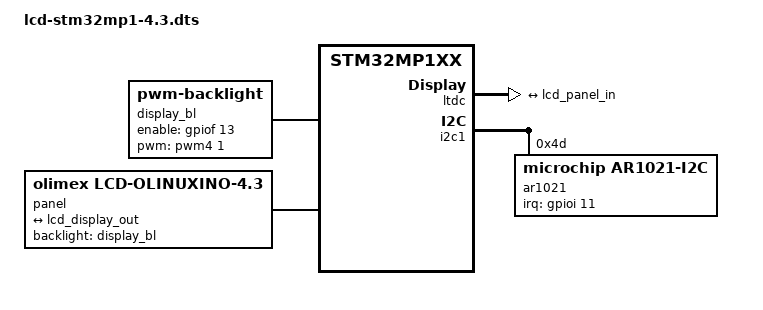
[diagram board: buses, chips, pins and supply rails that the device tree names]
/dts-v1/;
/plugin/;

/ {
	compatible = "olimex,stm32mp1xx-olinuxino-som",
                     "olimex,stm32mp1xx-olinuxino-lime",
		     "olimex,stm32mp1xx-olinuxino-som-base";

	description = "LCD-OLinuXino-4.3 480x272 RTS I2C";

	fragment@0 {
		target-path = "/";
		__overlay__ {
			display_bl: display-bl {
                                    compatible = "pwm-backlight";
                                    pwms = <&pwm4 1 50000 1>;
                                    brightness-levels = <0 10 20 30 40 50 60 70 80 90 100>;
                                    default-brightness-level = <10>;
                                    enable-gpios = <&gpiof 13 0>;
                                    status = "okay";
                        };
			panel {
                              compatible = "olimex,lcd-olinuxino-4.3";
                              backlight = <&display_bl>;
                              port {
                                lcd_panel_in: endpoint {
                                       remote-endpoint = <&lcd_display_out>;
                                };
                            };
                      };
		};
	};

	fragment@1 {
		target = <&ltdc>;
		__overlay__ {
                port {
                        lcd_display_out: endpoint {
                        remote-endpoint = <&lcd_panel_in>;
                    };
               };
	    };
	};

	fragment@2 {
		target = <&i2c1>;
		__overlay__ {
		 ar1021: ar1021@4d {
                                #address-cells = <1>;
                                #size-cells = <0>;
                                compatible = "microchip,ar1021-i2c";
                                reg = <0x4d>;
                                interrupt-parent = <&gpioi>;
                                interrupts = <11 2>;          /* PH12: IRQ_TYPE_LEVEL_HIGH */
                                irq-gpios = <&gpioi 11 0>;      /* PH10 */
                                touchscreen-inverted-y;
                        };

		};
	};
};
	
